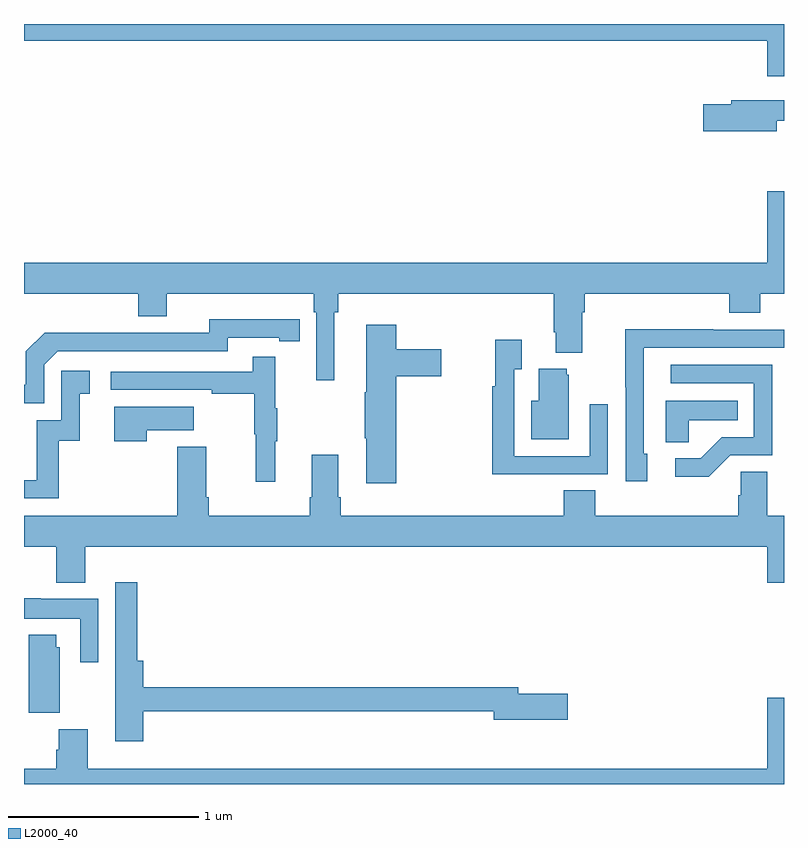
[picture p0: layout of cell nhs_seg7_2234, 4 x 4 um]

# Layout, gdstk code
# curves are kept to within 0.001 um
import gdstk
lib = gdstk.Library(unit=1e-6, precision=1e-09)
def P(c, l, *ps):  # polygons
    for p in ps: c.add(gdstk.Polygon(p, *l))
L2000_40 = (2000, 40)

nhs_seg7_2234 = lib.new_cell('nhs_seg7_2234')
P(nhs_seg7_2234, L2000_40, [(261,1038),(257,1038),(257,1037.912),(260.912,1037.912),(260.912,1037.724),(261,1037.724)],
  [(260.962,1037.49),(261,1037.49),(261,1037.598),(260.723,1037.598),(260.723,1037.577),(260.574,1037.577),(260.574,1037.435),(260.962,1037.435)],
  [(258.634,1036.484),(258.653,1036.484),(258.653,1036.58),(259.787,1036.58),(259.787,1036.378),(259.799,1036.378),(259.799,1036.271),(259.939,1036.271),(259.939,1036.484),(259.952,1036.484),(259.952,1036.58),(260.711,1036.58),(260.711,1036.481),(260.876,1036.481),(260.876,1036.58),(261,1036.58),(261,1037.119),(260.912,1037.119),(260.912,1036.744),(257,1036.744),(257,1036.58),(257.6,1036.58),(257.6,1036.463),(257.752,1036.463),(257.752,1036.58),(258.524,1036.58),(258.524,1036.484),(258.537,1036.484),(258.537,1036.125),(258.634,1036.125)],
  [(257.106,1036.206),(257.178,1036.278),(258.072,1036.278),(258.072,1036.35),(258.344,1036.35),(258.344,1036.33),(258.452,1036.33),(258.452,1036.446),(257.976,1036.447),(257.976,1036.374),(257.516,1036.374),(257.516,1036.376),(257.108,1036.376),(257.01,1036.278),(257.01,1036.101),(257,1036.101),(257,1036.005),(257.106,1036.005)],
  [(258.959,1036.145),(259.195,1036.145),(259.195,1036.287),(258.959,1036.287),(258.959,1036.417),(258.8,1036.417),(258.8,1036.061),(258.793,1036.061),(258.793,1035.82),(258.8,1035.82),(258.8,1035.582),(258.959,1035.582)],
  [(260.281,1035.738),(260.262,1035.738),(260.262,1036.296),(261,1036.296),(261,1036.392),(260.627,1036.392),(260.627,1036.394),(260.164,1036.394),(260.164,1036.087),(260.166,1036.087),(260.166,1035.594),(260.281,1035.594)],
  [(259.757,1035.63),(260.073,1035.63),(260.073,1036),(259.977,1036),(259.977,1035.726),(259.581,1035.726),(259.581,1036.183),(259.621,1036.183),(259.621,1036.339),(259.48,1036.339),(259.48,1036.094),(259.465,1036.094),(259.465,1035.629),(259.757,1035.629)],
  [(258.323,1035.803),(258.334,1035.803),(258.334,1035.977),(258.323,1035.977),(258.323,1036.249),(258.205,1036.249),(258.205,1036.17),(257.457,1036.17),(257.457,1036.074),(257.989,1036.074),(257.989,1036.054),(258.213,1036.054),(258.213,1035.84),(258.22,1035.84),(258.22,1035.591),(258.323,1035.591)],
  [(260.718,1035.729),(260.937,1035.729),(260.937,1036.206),(260.403,1036.206),(260.403,1036.11),(260.841,1036.11),(260.841,1035.825),(260.672,1035.825),(260.561,1035.714),(260.427,1035.714),(260.427,1035.617),(260.605,1035.617)],
  [(259.867,1036.155),(259.856,1036.155),(259.856,1036.186),(259.709,1036.186),(259.709,1036.018),(259.67,1036.018),(259.67,1035.815),(259.867,1035.815)],
  [(257.183,1035.807),(257.294,1035.807),(257.294,1036.053),(257.347,1036.053),(257.347,1036.174),(257.196,1036.174),(257.196,1035.915),(257.067,1035.915),(257.067,1035.6),(257,1035.6),(257,1035.504),(257.183,1035.504)],
  [(260.499,1035.914),(260.756,1035.914),(260.756,1036.018),(260.378,1036.018),(260.378,1035.799),(260.499,1035.799)],
  [(257.645,1035.863),(257.893,1035.863),(257.893,1035.985),(257.474,1035.985),(257.474,1035.804),(257.645,1035.804)],
  [(257.323,1035.248),(260.912,1035.248),(260.912,1035.06),(261,1035.06),(261,1035.412),(260.911,1035.412),(260.911,1035.644),(260.772,1035.644),(260.772,1035.521),(260.759,1035.521),(260.759,1035.412),(260.006,1035.412),(260.006,1035.545),(259.841,1035.545),(259.841,1035.412),(258.668,1035.412),(258.668,1035.508),(258.655,1035.508),(258.655,1035.733),(258.515,1035.733),(258.515,1035.508),(258.503,1035.508),(258.503,1035.412),(257.972,1035.412),(257.972,1035.508),(257.959,1035.508),(257.959,1035.775),(257.807,1035.775),(257.807,1035.412),(257,1035.412),(257,1035.248),(257.171,1035.248),(257.171,1035.059),(257.323,1035.059)],
  [(257.627,1034.382),(259.472,1034.382),(259.472,1034.339),(259.861,1034.339),(259.861,1034.474),(259.6,1034.474),(259.6,1034.51),(257.627,1034.51),(257.627,1034.65),(257.597,1034.65),(257.597,1035.061),(257.481,1035.061),(257.481,1034.487),(257.48,1034.487),(257.48,1034.226),(257.627,1034.226)],
  [(257.391,1034.974),(257.087,1034.974),(257.087,1034.977),(257,1034.977),(257,1034.87),(257.295,1034.87),(257.295,1034.64),(257.391,1034.64)],
  [(257.188,1034.721),(257.17,1034.721),(257.17,1034.785),(257.024,1034.785),(257.024,1034.374),(257.188,1034.374)],
  [(261,1034.455),(260.912,1034.455),(260.912,1034.08),(257.336,1034.08),(257.336,1034.289),(257.183,1034.289),(257.183,1034.18),(257.171,1034.18),(257.171,1034.08),(257,1034.08),(257,1034),(261,1034)])

lib.write_gds('nhs_seg7_2234.gds')
